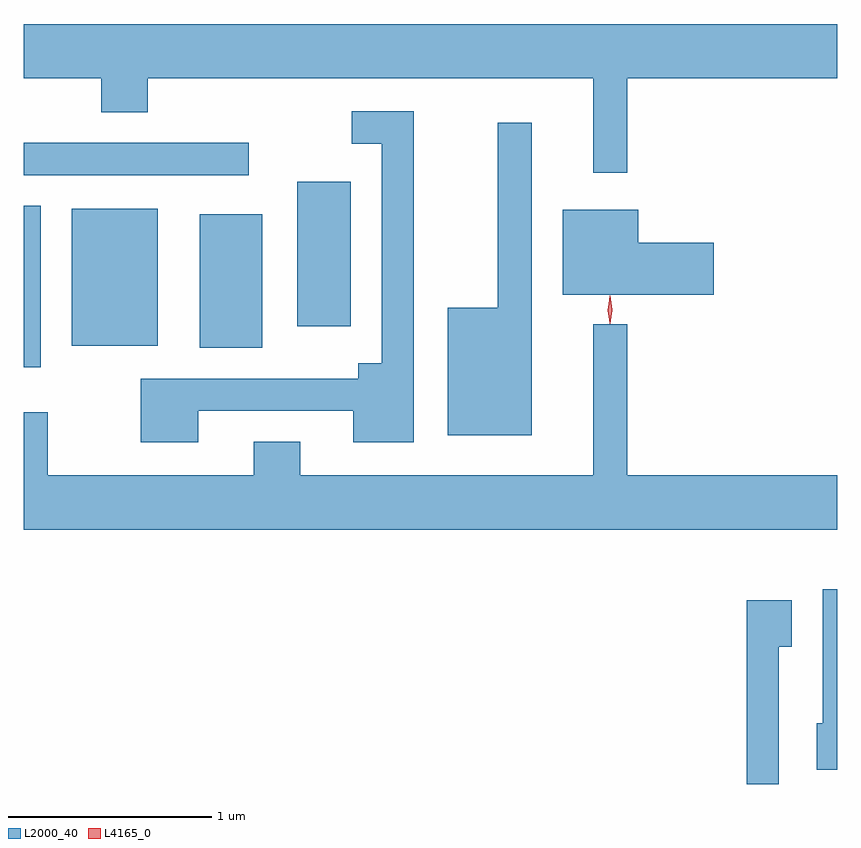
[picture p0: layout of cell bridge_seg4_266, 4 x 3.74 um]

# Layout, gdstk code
import gdstk
lib = gdstk.Library(unit=1e-6, precision=1e-09)
def R(c, l, rs):  # rectangles x0, y0, x1, y1
    for r in rs: c.add(gdstk.rectangle(r[:2], r[2:], *l))
def P(c, l, *ps):  # polygons
    for p in ps: c.add(gdstk.Polygon(p, *l))
L2000_40 = (2000, 40)
L4165_0 = (4165, 0)

bridge_seg4_266 = lib.new_cell('bridge_seg4_266')
R(bridge_seg4_266, L2000_40, [(756.741,1368.796,756.824,1369.589), (757.606,1368.891,757.914,1369.549), (756.976,1368.901,757.399,1369.574), (758.086,1368.996,758.349,1369.709), (756.741,1369.741,757.848,1369.899)])
P(bridge_seg4_266, L2000_40, [(759.709,1370.216),(760.741,1370.216),(760.741,1370.484),(756.741,1370.484),(756.741,1370.216),(757.121,1370.216),(757.121,1370.051),(757.349,1370.051),(757.349,1370.216),(759.541,1370.216),(759.541,1369.753),(759.709,1369.753)],
  [(757.599,1368.581),(758.361,1368.581),(758.361,1368.426),(758.659,1368.426),(758.659,1370.054),(758.353,1370.054),(758.353,1369.896),(758.501,1369.896),(758.501,1368.814),(758.386,1368.814),(758.386,1368.739),(757.316,1368.739),(757.316,1368.426),(757.599,1368.426)],
  [(759.239,1369.998),(759.071,1369.998),(759.071,1369.089),(758.826,1369.089),(758.826,1368.461),(759.239,1368.461)],
  [(760.134,1369.409),(759.764,1369.409),(759.764,1369.569),(759.391,1369.569),(759.391,1369.151),(760.134,1369.151)],
  [(756.741,1368.574),(756.741,1367.996),(760.741,1367.996),(760.741,1368.264),(759.709,1368.264),(759.709,1369.008),(759.541,1369.008),(759.541,1368.264),(758.099,1368.264),(758.099,1368.429),(757.871,1368.429),(757.871,1368.264),(756.859,1368.264),(756.859,1368.574)],
  [(760.741,1367.704),(760.671,1367.704),(760.671,1367.044),(760.641,1367.044),(760.641,1366.816),(760.741,1366.816)],
  [(760.454,1367.421),(760.519,1367.421),(760.519,1367.649),(760.296,1367.649),(760.296,1366.745),(760.454,1366.745)])
P(bridge_seg4_266, L4165_0, [(759.624,1369.013),(759.614,1369.076),(759.624,1369.139),(759.624,1369.14),(759.625,1369.139),(759.634,1369.076),(759.625,1369.013),(759.625,1369.013)],
  [(759.624,1369.01),(759.615,1369.078),(759.624,1369.146),(759.624,1369.146),(759.625,1369.146),(759.634,1369.078),(759.625,1369.01),(759.625,1369.01)])

lib.write_gds('bridge_seg4_266.gds')
